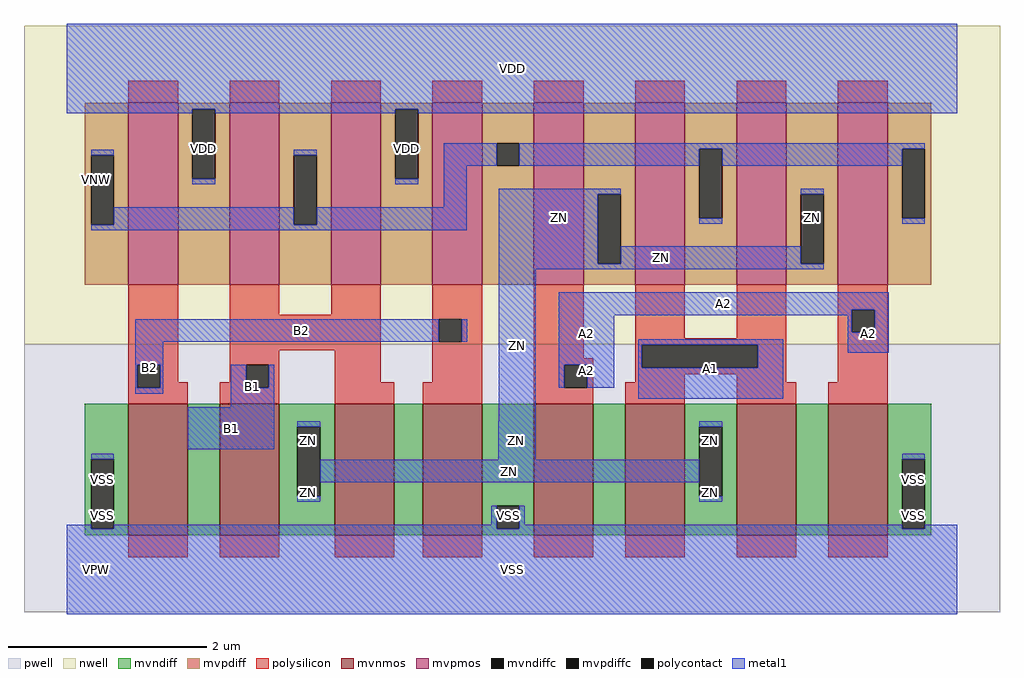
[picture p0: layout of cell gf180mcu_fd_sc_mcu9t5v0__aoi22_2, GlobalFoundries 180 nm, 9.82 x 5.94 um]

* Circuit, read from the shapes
.subckt gf180mcu_fd_sc_mcu9t5v0__aoi22_2 A1 A2 B1 B2 ZN VDD VNW VPW VSS
XM1 n1 B2 VSS VPW nfet_06v0 w=1.32u l=0.6u
XM2 ZN B1 n1 VPW nfet_06v0 w=1.32u l=0.6u
XM3 n2 B1 ZN VPW nfet_06v0 w=1.32u l=0.6u
XM4 VSS B2 n2 VPW nfet_06v0 w=1.32u l=0.6u
XM5 n3 A2 VSS VPW nfet_06v0 w=1.32u l=0.6u
XM6 ZN A1 n3 VPW nfet_06v0 w=1.32u l=0.6u
XM7 n4 A1 ZN VPW nfet_06v0 w=1.32u l=0.6u
XM8 VSS A2 n4 VPW nfet_06v0 w=1.32u l=0.6u
XM9 VDD B2 n5 VNW pfet_06v0 w=1.83u l=0.5u m=2
XM10 n5 B1 VDD VNW pfet_06v0 w=1.83u l=0.5u m=2
XM11 ZN A2 n5 VNW pfet_06v0 w=1.83u l=0.5u m=2
XM12 n5 A1 ZN VNW pfet_06v0 w=1.83u l=0.5u m=2
.ends

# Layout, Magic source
magic
tech gf180mcuD
magscale 1 10
<< nwell >>
rect -86 453 1878 1094
<< pwell >>
rect -86 -86 1878 453
<< mvnmos >>
rect 124 69 244 333
rect 308 69 428 333
rect 539 69 659 333
rect 716 69 836 333
rect 940 69 1060 333
rect 1124 69 1244 333
rect 1348 69 1468 333
rect 1532 69 1652 333
<< mvpmos >>
rect 124 573 224 939
rect 328 573 428 939
rect 532 573 632 939
rect 736 573 836 939
rect 940 573 1040 939
rect 1144 573 1244 939
rect 1348 573 1448 939
rect 1552 573 1652 939
<< mvndiff >>
rect 36 222 124 333
rect 36 82 49 222
rect 95 82 124 222
rect 36 69 124 82
rect 244 69 308 333
rect 428 287 539 333
rect 428 147 464 287
rect 510 147 539 287
rect 428 69 539 147
rect 659 69 716 333
rect 836 128 940 333
rect 836 82 865 128
rect 911 82 940 128
rect 836 69 940 82
rect 1060 69 1124 333
rect 1244 287 1348 333
rect 1244 147 1273 287
rect 1319 147 1348 287
rect 1244 69 1348 147
rect 1468 69 1532 333
rect 1652 222 1740 333
rect 1652 82 1681 222
rect 1727 82 1740 222
rect 1652 69 1740 82
<< mvpdiff >>
rect 36 834 124 939
rect 36 694 49 834
rect 95 694 124 834
rect 36 573 124 694
rect 224 926 328 939
rect 224 786 253 926
rect 299 786 328 926
rect 224 573 328 786
rect 428 834 532 939
rect 428 694 457 834
rect 503 694 532 834
rect 428 573 532 694
rect 632 926 736 939
rect 632 786 661 926
rect 707 786 736 926
rect 632 573 736 786
rect 836 858 940 939
rect 836 812 865 858
rect 911 812 940 858
rect 836 573 940 812
rect 1040 755 1144 939
rect 1040 615 1069 755
rect 1115 615 1144 755
rect 1040 573 1144 615
rect 1244 847 1348 939
rect 1244 707 1273 847
rect 1319 707 1348 847
rect 1244 573 1348 707
rect 1448 755 1552 939
rect 1448 615 1477 755
rect 1523 615 1552 755
rect 1448 573 1552 615
rect 1652 847 1740 939
rect 1652 707 1681 847
rect 1727 707 1740 847
rect 1652 573 1740 707
<< mvndiffc >>
rect 49 82 95 222
rect 464 147 510 287
rect 865 82 911 128
rect 1273 147 1319 287
rect 1681 82 1727 222
<< mvpdiffc >>
rect 49 694 95 834
rect 253 786 299 926
rect 457 694 503 834
rect 661 786 707 926
rect 865 812 911 858
rect 1069 615 1115 755
rect 1273 707 1319 847
rect 1477 615 1523 755
rect 1681 707 1727 847
<< polysilicon >>
rect 124 939 224 983
rect 328 939 428 983
rect 532 939 632 983
rect 736 939 836 983
rect 940 939 1040 983
rect 1144 939 1244 983
rect 1348 939 1448 983
rect 1552 939 1652 983
rect 124 412 224 573
rect 124 366 142 412
rect 188 377 224 412
rect 328 513 428 573
rect 532 513 632 573
rect 328 441 632 513
rect 328 412 428 441
rect 328 377 361 412
rect 188 366 244 377
rect 124 333 244 366
rect 308 366 361 377
rect 407 366 428 412
rect 308 333 428 366
rect 539 377 632 441
rect 736 504 836 573
rect 736 458 749 504
rect 795 458 836 504
rect 736 377 836 458
rect 539 333 659 377
rect 716 333 836 377
rect 940 425 1040 573
rect 1144 465 1244 573
rect 1348 465 1448 573
rect 1144 452 1448 465
rect 940 412 1060 425
rect 940 366 1001 412
rect 1047 366 1060 412
rect 1144 406 1157 452
rect 1391 406 1448 452
rect 1144 393 1448 406
rect 1144 377 1244 393
rect 940 333 1060 366
rect 1124 333 1244 377
rect 1348 377 1448 393
rect 1552 523 1652 573
rect 1552 477 1580 523
rect 1626 477 1652 523
rect 1552 377 1652 477
rect 1348 333 1468 377
rect 1532 333 1652 377
rect 124 25 244 69
rect 308 25 428 69
rect 539 25 659 69
rect 716 25 836 69
rect 940 25 1060 69
rect 1124 25 1244 69
rect 1348 25 1468 69
rect 1532 25 1652 69
<< polycontact >>
rect 142 366 188 412
rect 361 366 407 412
rect 749 458 795 504
rect 1001 366 1047 412
rect 1157 406 1391 452
rect 1580 477 1626 523
<< metal1 >>
rect 0 926 1792 1098
rect 0 918 253 926
rect 49 834 95 845
rect 299 918 661 926
rect 253 775 299 786
rect 457 834 503 845
rect 95 694 457 729
rect 707 918 1792 926
rect 661 775 707 786
rect 759 812 865 858
rect 911 847 1727 858
rect 911 812 1273 847
rect 759 729 805 812
rect 503 694 805 729
rect 49 683 805 694
rect 869 755 1115 766
rect 869 615 1069 755
rect 1319 812 1681 847
rect 1273 696 1319 707
rect 1477 755 1523 766
rect 1115 615 1477 650
rect 1681 696 1727 707
rect 869 604 1523 615
rect 138 458 749 504
rect 795 458 806 504
rect 138 412 194 458
rect 138 366 142 412
rect 188 366 194 412
rect 138 354 194 366
rect 330 366 361 412
rect 407 366 418 412
rect 330 326 418 366
rect 244 242 418 326
rect 869 298 944 604
rect 990 523 1654 558
rect 990 512 1580 523
rect 990 412 1102 512
rect 1572 477 1580 512
rect 1626 477 1654 523
rect 990 366 1001 412
rect 1047 366 1102 412
rect 1150 452 1442 463
rect 1150 406 1157 452
rect 1391 406 1442 452
rect 1572 436 1654 477
rect 1150 344 1442 406
rect 464 287 510 298
rect 49 222 95 233
rect 0 82 49 90
rect 868 221 944 298
rect 1273 287 1319 298
rect 510 175 1273 221
rect 464 136 510 147
rect 1273 136 1319 147
rect 1681 222 1727 233
rect 854 90 865 128
rect 95 82 865 90
rect 911 90 922 128
rect 911 82 1681 90
rect 1727 82 1792 90
rect 0 -90 1792 82
<< labels >>
flabel metal1 s 1150 344 1442 463 0 FreeSans 200 0 0 0 A1
port 1 nsew default input
flabel metal1 s 990 512 1654 558 0 FreeSans 200 0 0 0 A2
port 2 nsew default input
flabel metal1 s 330 326 418 412 0 FreeSans 200 0 0 0 B1
port 3 nsew default input
flabel metal1 s 138 458 806 504 0 FreeSans 200 0 0 0 B2
port 4 nsew default input
flabel metal1 s 0 918 1792 1098 0 FreeSans 200 0 0 0 VDD
port 6 nsew power bidirectional abutment
flabel metal1 s 1681 128 1727 233 0 FreeSans 200 0 0 0 VSS
port 9 nsew ground bidirectional abutment
flabel metal1 s 1477 650 1523 766 0 FreeSans 200 0 0 0 ZN
port 5 nsew default output
flabel nwell s 10 734 110 834 0 FreeSans 400 0 0 0 VNW
port 7 nsew power bidirectional
flabel pwell s 10 -50 110 50 0 FreeSans 400 0 0 0 VPW
port 8 nsew ground bidirectional
rlabel metal1 s 1572 436 1654 512 1 A2
port 2 nsew default input
rlabel metal1 s 990 436 1102 512 1 A2
port 2 nsew default input
rlabel metal1 s 990 366 1102 436 1 A2
port 2 nsew default input
rlabel metal1 s 244 242 418 326 1 B1
port 3 nsew default input
rlabel metal1 s 138 354 194 458 1 B2
port 4 nsew default input
rlabel metal1 s 869 650 1115 766 1 ZN
port 5 nsew default output
rlabel metal1 s 869 604 1523 650 1 ZN
port 5 nsew default output
rlabel metal1 s 869 298 944 604 1 ZN
port 5 nsew default output
rlabel metal1 s 1273 221 1319 298 1 ZN
port 5 nsew default output
rlabel metal1 s 868 221 944 298 1 ZN
port 5 nsew default output
rlabel metal1 s 464 221 510 298 1 ZN
port 5 nsew default output
rlabel metal1 s 464 175 1319 221 1 ZN
port 5 nsew default output
rlabel metal1 s 1273 136 1319 175 1 ZN
port 5 nsew default output
rlabel metal1 s 464 136 510 175 1 ZN
port 5 nsew default output
rlabel metal1 s 661 775 707 918 1 VDD
port 6 nsew power bidirectional abutment
rlabel metal1 s 253 775 299 918 1 VDD
port 6 nsew power bidirectional abutment
rlabel metal1 s 49 128 95 233 1 VSS
port 9 nsew ground bidirectional abutment
rlabel metal1 s 1681 90 1727 128 1 VSS
port 9 nsew ground bidirectional abutment
rlabel metal1 s 854 90 922 128 1 VSS
port 9 nsew ground bidirectional abutment
rlabel metal1 s 49 90 95 128 1 VSS
port 9 nsew ground bidirectional abutment
rlabel metal1 s 0 -90 1792 90 1 VSS
port 9 nsew ground bidirectional abutment
<< properties >>
string FIXED_BBOX 0 0 1792 1008
string GDS_END 1190580
string GDS_FILE $PDKPATH/libs.ref/gf180mcu_fd_sc_mcu9t5v0/gds/gf180mcu_fd_sc_mcu9t5v0.gds
string GDS_START 1185268
string LEFclass core
string LEFsite GF018hv5v_green_sc9
string LEFsymmetry X Y
<< end >>
